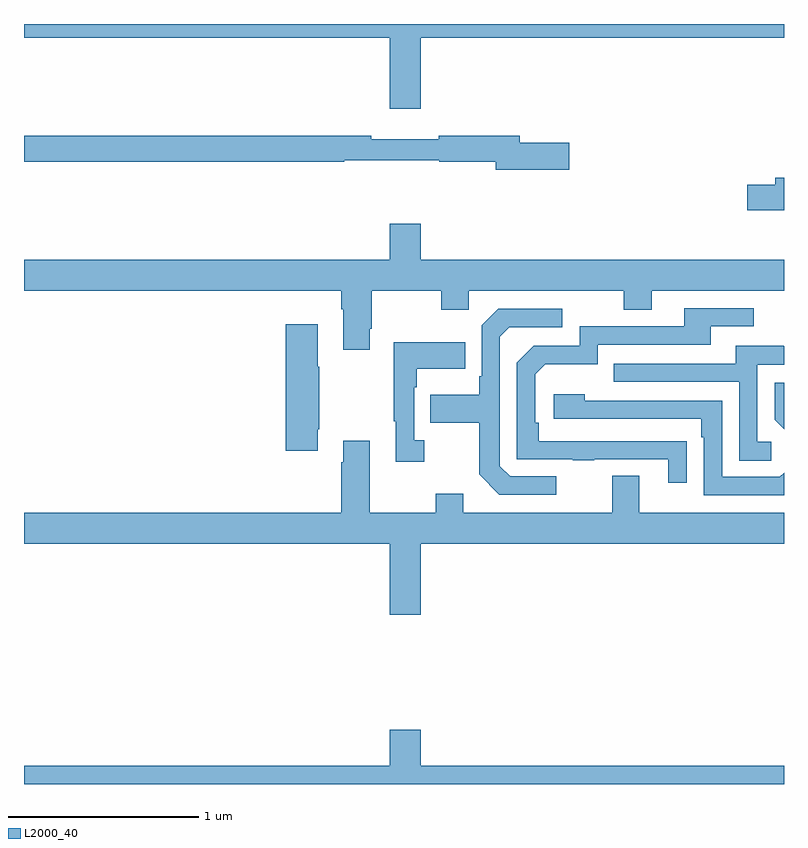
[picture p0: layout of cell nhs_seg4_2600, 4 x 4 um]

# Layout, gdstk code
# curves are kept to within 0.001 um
import gdstk
lib = gdstk.Library(unit=1e-6, precision=1e-09)
def P(c, l, *ps):  # polygons
    for p in ps: c.add(gdstk.Polygon(p, *l))
L2000_40 = (2000, 40)

nhs_seg4_2600 = lib.new_cell('nhs_seg4_2600')
P(nhs_seg4_2600, L2000_40, [(249.088,788.828),(251,788.828),(251,788.9),(247,788.9),(247,788.828),(248.924,788.828),(248.924,788.454),(249.088,788.454)],
  [(249.871,788.276),(249.61,788.276),(249.61,788.312),(249.184,788.312),(249.184,788.293),(248.828,788.293),(248.828,788.312),(247,788.312),(247,788.176),(248.686,788.176),(248.686,788.184),(249.186,788.184),(249.186,788.176),(249.482,788.176),(249.482,788.134),(249.871,788.134)],
  [(251,788.09),(250.955,788.09),(250.955,788.054),(250.806,788.054),(250.806,787.919),(251,787.919)],
  [(248.821,787.297),(248.829,787.297),(248.829,787.496),(249.196,787.496),(249.196,787.397),(249.342,787.397),(249.342,787.496),(250.156,787.496),(250.156,787.397),(250.303,787.397),(250.303,787.496),(251,787.496),(251,787.66),(249.088,787.66),(249.088,787.849),(248.924,787.849),(248.924,787.66),(247,787.66),(247,787.496),(248.669,787.496),(248.669,787.4),(248.681,787.4),(248.681,787.185),(248.821,787.185)],
  [(250.487,786.704),(249.71,786.705),(249.71,786.802),(249.69,786.802),(249.69,787.056),(249.743,787.109),(250.02,787.109),(250.02,787.212),(250.615,787.212),(250.615,787.308),(250.84,787.308),(250.84,787.404),(250.475,787.404),(250.475,787.308),(249.924,787.308),(249.924,787.206),(249.684,787.206),(249.594,787.116),(249.594,786.609),(249.889,786.609),(249.889,786.604),(250.001,786.604),(250.001,786.609),(250.391,786.609),(250.391,786.486),(250.487,786.486)],
  [(249.802,786.519),(249.558,786.519),(249.504,786.573),(249.504,787.254),(249.555,787.305),(249.832,787.305),(249.832,787.401),(249.495,787.401),(249.408,787.314),(249.408,787.045),(249.396,787.045),(249.396,786.949),(249.139,786.949),(249.139,786.802),(249.396,786.802),(249.396,786.529),(249.501,786.423),(249.802,786.423)],
  [(248.545,786.766),(248.553,786.766),(248.553,787.097),(248.545,787.097),(248.545,787.321),(248.378,787.321),(248.378,786.654),(248.545,786.654)],
  [(249.106,786.71),(249.054,786.71),(249.054,786.989),(249.067,786.989),(249.067,787.085),(249.323,787.085),(249.323,787.225),(248.946,787.225),(248.946,786.809),(248.957,786.809),(248.957,786.597),(249.106,786.597)],
  [(250.933,786.702),(250.86,786.702),(250.86,787.107),(251,787.107),(251,787.203),(250.999,787.203),(250.999,787.207),(250.745,787.207),(250.745,787.113),(250.105,787.113),(250.105,787.017),(250.764,787.017),(250.764,786.601),(250.933,786.601)],
  [(251,787.012),(250.95,787.012),(250.95,786.818),(251,786.768)],
  [(251,786.539),(250.977,786.516),(250.674,786.516),(250.674,786.918),(249.95,786.918),(249.95,786.952),(249.789,786.952),(249.789,786.822),(250.565,786.822),(250.565,786.725),(250.578,786.725),(250.578,786.42),(251,786.42)],
  [(249.088,786.164),(251,786.164),(251,786.328),(250.237,786.328),(250.237,786.523),(250.097,786.523),(250.097,786.328),(249.313,786.328),(249.313,786.427),(249.166,786.427),(249.166,786.328),(248.821,786.328),(248.821,786.706),(248.681,786.706),(248.681,786.593),(248.669,786.593),(248.669,786.328),(247,786.328),(247,786.164),(248.924,786.164),(248.924,785.79),(249.088,785.79)],
  [(251,784.996),(249.088,784.996),(249.088,785.185),(248.924,785.185),(248.924,784.996),(247,784.996),(247,784.9),(251,784.9)])

lib.write_gds('nhs_seg4_2600.gds')
